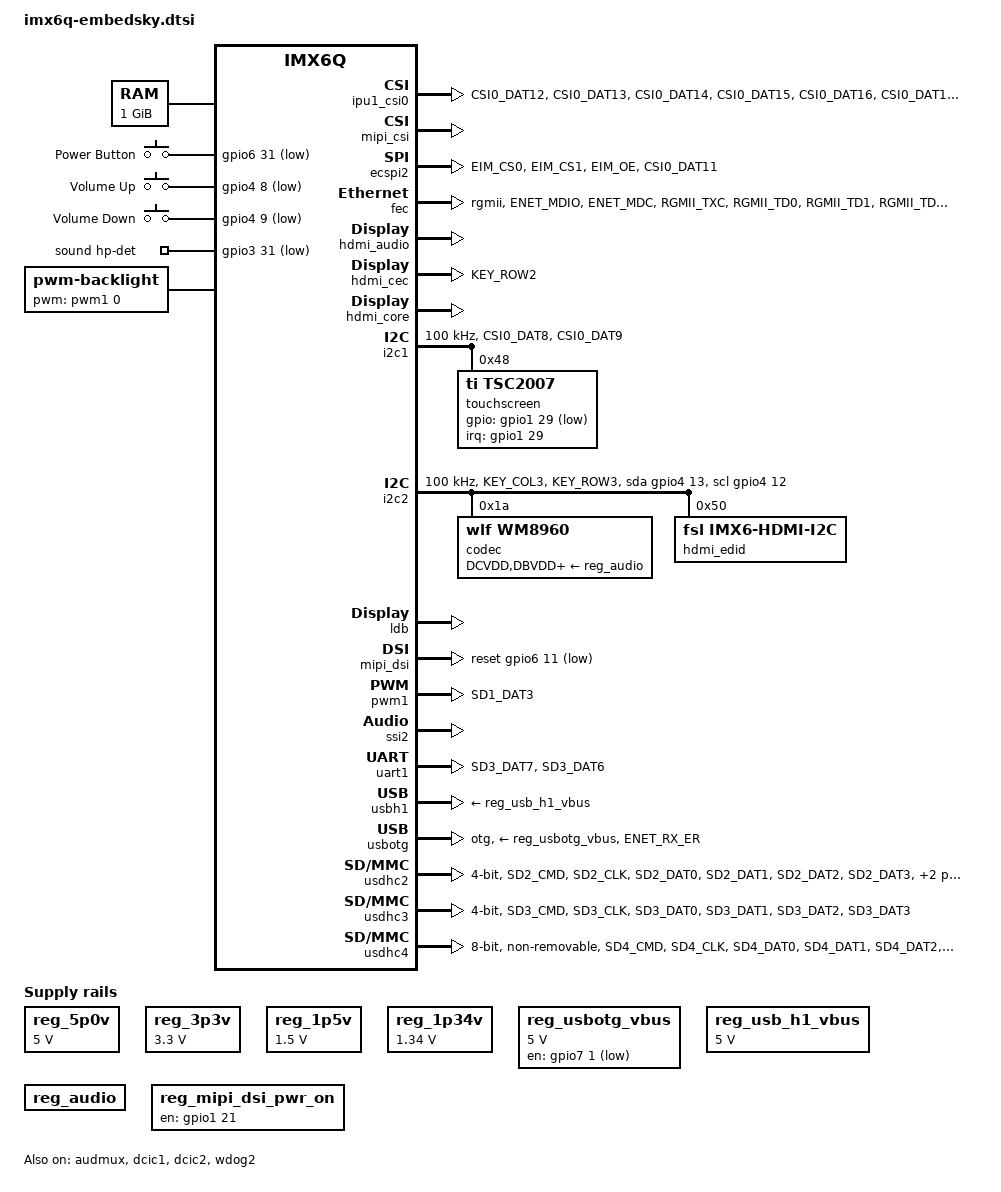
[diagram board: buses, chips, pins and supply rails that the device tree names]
/*
 * Copyright 2019 Ovidiu Mihalachi <ovidiu.mihalachi@gmail.com>
 *
 * The code contained herein is licensed under the GNU General Public
 * License. You may obtain a copy of the GNU General Public License
 * Version 2 or later at the following locations:
 *
 * http://www.opensource.org/licenses/gpl-license.html
 * http://www.gnu.org/copyleft/gpl.html
 */

#include <dt-bindings/clock/imx6qdl-clock.h>
#include <dt-bindings/gpio/gpio.h>
#include <dt-bindings/input/input.h>

/ {
	aliases {
		mxcfb0 = &mxcfb1;
		mxcfb1 = &mxcfb2;
		mxcfb2 = &mxcfb3;
		mxcfb3 = &mxcfb4;
	};

	chosen {
		stdout-path = &uart1;
	};

	memory: memory {
		reg = <0x10000000 0x40000000>;
	};

	regulators {
		compatible = "simple-bus";
		#address-cells = <1>;
		#size-cells = <0>;

		/* VDD_5V0 */
		reg_5p0v: regulator-5p0v {
			compatible = "regulator-fixed";
			regulator-name = "5p0v";
			regulator-min-microvolt = <5000000>;
			regulator-max-microvolt = <5000000>;
			regulator-always-on;
		};

		/* VDD_3V3 (5*(1+R1/R2) = 3.314) */
		reg_3p3v: regulator-3p3v {
			compatible = "regulator-fixed";
			regulator-name = "3p3v";
			regulator-min-microvolt = <3300000>;
			regulator-max-microvolt = <3300000>;
			regulator-always-on;
		};

		/* VDD_DDR (0.6*(1+R1/R2) = 1.50) */
		reg_1p5v: regulator-1p5v {
			compatible = "regulator-fixed";
			regulator-name = "1p5v";
			regulator-min-microvolt = <1500000>;
			regulator-max-microvolt = <1500000>;
			regulator-ramp-delay = <7000>;
			regulator-always-on;
		};

		/* VDD_1V34 (0.8*(1+R1/R2) = 1.34) */
		reg_1p34v: regulator-1p34v {
			compatible = "regulator-fixed";
			regulator-name = "1p34v";
			regulator-min-microvolt = <1340000>;
			regulator-max-microvolt = <1340000>;
			regulator-ramp-delay = <5000>;
			regulator-always-on;
		};

		reg_usbotg_vbus: regulator@1 {
			compatible = "regulator-fixed";
			reg = <1>;
			pinctrl-names = "default";
			pinctrl-0 = <&pinctrl_usbotg_vbus>;
			regulator-name = "usbotg_vbus";
			regulator-min-microvolt = <5000000>;
			regulator-max-microvolt = <5000000>;
			gpio = <&gpio7 1 GPIO_ACTIVE_HIGH>;
			enable-active-low;
		};

		reg_usb_h1_vbus: regulator@2 {
			compatible = "regulator-fixed";
			reg = <2>;
			regulator-name = "usb_h1_vbus";
			regulator-min-microvolt = <5000000>;
			regulator-max-microvolt = <5000000>;
			regulator-boot-on;
			regulator-always-on;
		};

		reg_audio: regulator@3 {
			compatible = "regulator-fixed";
			reg = <3>;
			regulator-name = "wm8960-supply";
			regulator-always-on;
			regulator-boot-on;
			enable-active-high;
		};

		reg_mipi_dsi_pwr_on: mipi_dsi_pwr_on {
			compatible = "regulator-fixed";
			reg = <4>;
			regulator-name = "mipi_dsi_pwr_on";
			gpio = <&gpio1 21 GPIO_ACTIVE_HIGH>;
			enable-active-high;
		};
	};

	gpio-keys {
		compatible = "gpio-keys";
		pinctrl-names = "default";
		pinctrl-0 = <&pinctrl_gpio_keys>;

		power {
			label = "Power Button";
			gpios = <&gpio6 31 GPIO_ACTIVE_LOW>;
			wakeup-source;
			linux,code = <KEY_POWER>;
		};

		volume-up {
			label = "Volume Up";
			gpios = <&gpio4 8 GPIO_ACTIVE_LOW>;
			wakeup-source;
			linux,code = <KEY_VOLUMEUP>;
		};

		volume-down {
			label = "Volume Down";
			gpios = <&gpio4 9 GPIO_ACTIVE_LOW>;
			wakeup-source;
			linux,code = <KEY_VOLUMEDOWN>;
		};
	};

	sound {
		compatible = "fsl,imx-audio-wm8960";
		model = "wm8960-audio";
		cpu-dai = <&ssi2>;
		audio-codec = <&codec>;
		asrc-controller = <&asrc>;
		gpr = <&gpr 4 0x100000 0x100000>;
		codec-master;
		hp-det-gpios = <&gpio3 31 1>;
		mux-int-port = <2>;
		mux-ext-port = <3>;
		audio-routing =
			"Headphone Jack", "HPOUTL",
			"Headphone Jack", "HPOUTR",
			"Ext Spk", "SPKOUTL",
			"Ext Spk", "SPKOUTR",
			"AMIC", "MICBIAS",
			"IN3R", "AMIC",
			"DMIC", "MICBIAS",
			"DMICDAT", "DMIC",
			"CPU-Playback", "ASRC-Playback",
			"Playback", "CPU-Playback",
			"ASRC-Capture", "CPU-Capture",
			"CPU-Capture", "Capture";
	};

	sound-hdmi {
		compatible = "fsl,imx6q-audio-hdmi",
			     "fsl,imx-audio-hdmi";
		model = "imx-audio-hdmi";
		hdmi-controller = <&hdmi_audio>;
	};

	mxcfb1: fb@0 {
		compatible = "fsl,mxc_sdc_fb";
		disp_dev = "ldb";
		interface_pix_fmt = "RGB666";
		default_bpp = <16>;
		int_clk = <0>;
		late_init = <0>;
		status = "disabled";
	};

	mxcfb2: fb@1 {
		compatible = "fsl,mxc_sdc_fb";
		disp_dev = "hdmi";
		interface_pix_fmt = "RGB24";
		mode_str ="1920x1080M@60";
		default_bpp = <24>;
		int_clk = <0>;
		late_init = <0>;
		status = "disabled";
	};

	mxcfb3: fb@2 {
		compatible = "fsl,mxc_sdc_fb";
		disp_dev = "lcd";
		interface_pix_fmt = "RGB565";
		mode_str ="CLAA-WVGA";
		default_bpp = <16>;
		int_clk = <0>;
		late_init = <0>;
		status = "disabled";
	};

	mxcfb4: fb@3 {
		compatible = "fsl,mxc_sdc_fb";
		disp_dev = "ldb";
		interface_pix_fmt = "RGB666";
		default_bpp = <16>;
		int_clk = <0>;
		late_init = <0>;
		status = "disabled";
	};

	lcd@0 {
		compatible = "fsl,lcd";
		ipu_id = <0>;
		disp_id = <0>;
		default_ifmt = "RGB565";
		pinctrl-names = "default";
		pinctrl-0 = <&pinctrl_ipu1>;
		status = "okay";
	};

	backlight {
		compatible = "pwm-backlight";
		pwms = <&pwm1 0 5000000>;
		brightness-levels = <0 4 8 16 32 64 128 255>;
		default-brightness-level = <7>;
		status = "okay";
	};

	v4l2_cap_0 {
		compatible = "fsl,imx6q-v4l2-capture";
		ipu_id = <0>;
		csi_id = <0>;
		mclk_source = <0>;
		status = "okay";
	};

	v4l2_cap_1 {
		compatible = "fsl,imx6q-v4l2-capture";
		ipu_id = <0>;
		csi_id = <1>;
		mclk_source = <0>;
		status = "okay";
	};

	v4l2_out {
		compatible = "fsl,mxc_v4l2_output";
		status = "okay";
	};
};

&ipu1_csi0_from_ipu1_csi0_mux {
	bus-width = <8>;
	data-shift = <12>; /* Lines 19:12 used */
	hsync-active = <1>;
	vsync-active = <1>;
};

&ipu1_csi0 {
	pinctrl-names = "default";
	pinctrl-0 = <&pinctrl_ipu1_csi0>;
};

&mipi_csi {
	status = "okay";
};

&audmux {
	pinctrl-names = "default";
	pinctrl-0 = <&pinctrl_audmux>;
	status = "okay";
};

&clks {
	assigned-clocks = <&clks IMX6QDL_CLK_LDB_DI0_SEL>,
			  <&clks IMX6QDL_CLK_LDB_DI1_SEL>;
	assigned-clock-parents = <&clks IMX6QDL_CLK_PLL2_PFD0_352M>,
				 <&clks IMX6QDL_CLK_PLL2_PFD0_352M>;
};

&ecspi2 {
	cs-gpios = <&gpio5 29 0>;
	pinctrl-names = "default";
	pinctrl-0 = <&pinctrl_ecspi2>;
	status = "okay";
};

&fec {
	pinctrl-names = "default";
	pinctrl-0 = <&pinctrl_enet &pinctrl_enet_irq>;
	phy-mode = "rgmii";
	phy-reset-gpios = <&gpio1 25 GPIO_ACTIVE_LOW>;
	fsl,magic-packet;
	status = "okay";
};

&gpc {
	fsl,ldo-bypass = <1>;
};

&dcic1 {
	dcic_id = <0>;
	dcic_mux = "dcic-hdmi";
	status = "okay";
};

&dcic2 {
	dcic_id = <1>;
	dcic_mux = "dcic-lvds1";
	status = "okay";
};

&hdmi_audio {
	status = "okay";
};

&hdmi_cec {
	pinctrl-names = "default";
	pinctrl-0 = <&pinctrl_hdmi_cec>;
	status = "okay";
};

&hdmi_core {
	ipu_id = <0>;
	disp_id = <0>;
	status = "okay";
};

&i2c1 {
	clock-frequency = <100000>;
	pinctrl-names = "default";
	pinctrl-0 = <&pinctrl_i2c1>;
	status = "okay";

	touchscreen: tsc2007@48 {
		compatible = "ti,tsc2007";
		reg = <0x48>;
		pinctrl-names = "default";
		pinctrl-0 = <&pinctrl_tsc2007>;
		interrupt-parent = <&gpio1>;
		interrupts = <29 0>;
		gpios = <&gpio1 29 GPIO_ACTIVE_LOW>;
		ti,x-plate-ohms = <660>;
		wakeup-source;
	};
};

&i2c2 {
	clock-frequency = <100000>;
	pinctrl-names = "default", "gpio";
	pinctrl-0 = <&pinctrl_i2c2>;
	pinctrl-1 = <&pinctrl_i2c2_gpio>;
	scl-gpios = <&gpio4 12 GPIO_ACTIVE_HIGH>;
	sda-gpios = <&gpio4 13 GPIO_ACTIVE_HIGH>;
	status = "okay";

        codec: wm8960@1a {
                compatible = "wlf,wm8960";
                reg = <0x1a>;
                #sound-dai-cells = <0>;
		DCVDD-supply = <&reg_audio>;
		DBVDD-supply = <&reg_audio>;
		AVDD-supply = <&reg_audio>;
		SPKVDD1-supply = <&reg_audio>;
		SPKVDD2-supply = <&reg_audio>;
                clocks = <&clks IMX6QDL_CLK_CKO>;
                clock-names = "mclk";
                wlf,shared-lrclk;
        };

	hdmi_edid: edid@50 {
		compatible = "fsl,imx6-hdmi-i2c";
		reg = <0x50>;
	};
};

&iomuxc {
	pinctrl-names = "default";
	pinctrl-0 = <&pinctrl_hog>;

	imx6q-embedsky {
		pinctrl_hog: hoggrp {
			fsl,pins = <
				MX6QDL_PAD_GPIO_4__GPIO1_IO04	0x80000000 /* SD2_CD */
				MX6QDL_PAD_GPIO_2__GPIO1_IO02	0x80000000 /* SD2_WP */
				MX6QDL_PAD_EIM_BCLK__GPIO6_IO31	0x80000000
				MX6QDL_PAD_GPIO_9__GPIO1_IO09	0x80000000
				MX6QDL_PAD_ENET_CRS_DV__GPIO1_IO25 0x80000000
				MX6QDL_PAD_EIM_D31__GPIO3_IO31	0x80000000  /* HP_DETECT */
			>;
		};

		pinctrl_audmux: audmuxgrp {
			fsl,pins = <
				MX6QDL_PAD_CSI0_DAT7__AUD3_RXD		0x130b0
				MX6QDL_PAD_CSI0_DAT4__AUD3_TXC		0x130b0
				MX6QDL_PAD_CSI0_DAT5__AUD3_TXD		0x130b0
				MX6QDL_PAD_CSI0_DAT6__AUD3_TXFS		0x130b0
				MX6QDL_PAD_GPIO_0__CCM_CLKO1            0x130b0 /* AUD4_MCK */
			>;
		};

		pinctrl_ecspi2: escpi2grp {
			fsl,pins = <
				MX6QDL_PAD_EIM_CS0__ECSPI2_SCLK		0x100b1
				MX6QDL_PAD_EIM_CS1__ECSPI2_MOSI		0x100b1
				MX6QDL_PAD_EIM_OE__ECSPI2_MISO		0x100b1
				MX6QDL_PAD_CSI0_DAT11__GPIO5_IO29	0x1b0b0 /* CS */
			>;
		};

		pinctrl_enet: enetgrp {
			fsl,pins = <
				MX6QDL_PAD_ENET_MDIO__ENET_MDIO		0x1b0b0
				MX6QDL_PAD_ENET_MDC__ENET_MDC		0x1b0b0
				MX6QDL_PAD_RGMII_TXC__RGMII_TXC		0x1b030
				MX6QDL_PAD_RGMII_TD0__RGMII_TD0		0x1b030
				MX6QDL_PAD_RGMII_TD1__RGMII_TD1		0x1b030
				MX6QDL_PAD_RGMII_TD2__RGMII_TD2		0x1b030
				MX6QDL_PAD_RGMII_TD3__RGMII_TD3		0x1b030
				MX6QDL_PAD_RGMII_TX_CTL__RGMII_TX_CTL	0x1b030
				MX6QDL_PAD_ENET_REF_CLK__ENET_TX_CLK	0x1b0b0
				MX6QDL_PAD_RGMII_RXC__RGMII_RXC		0x1b030
				MX6QDL_PAD_RGMII_RD0__RGMII_RD0		0x1b030
				MX6QDL_PAD_RGMII_RD1__RGMII_RD1		0x1b030
				MX6QDL_PAD_RGMII_RD2__RGMII_RD2		0x1b030
				MX6QDL_PAD_RGMII_RD3__RGMII_RD3		0x1b030
				MX6QDL_PAD_RGMII_RX_CTL__RGMII_RX_CTL	0x1b030
				MX6QDL_PAD_GPIO_16__ENET_REF_CLK	0x4001b0a8
			>;
		};

		pinctrl_enet_irq: enetirqgrp {
			fsl,pins = <
				MX6QDL_PAD_GPIO_6__ENET_IRQ		0x000b1
			>;
		};

		pinctrl_gpio_keys: gpio_keysgrp {
			fsl,pins = <
				MX6QDL_PAD_KEY_COL1__GPIO4_IO08		0x1b0b0 /* KEY_VOL_UP */
				MX6QDL_PAD_KEY_ROW1__GPIO4_IO09		0x1b0b0 /* KEY_VOL_DN */
			>;
		};

		pinctrl_hdmi_cec: hdmicecgrp {
			fsl,pins = <
				MX6QDL_PAD_KEY_ROW2__HDMI_TX_CEC_LINE	0x108b0
			>;
		};

		pinctrl_hdmi_hdcp: hdmihdcpgrp {
			fsl,pins = <
				MX6QDL_PAD_KEY_COL3__HDMI_TX_DDC_SCL	0x4001b8b1
				MX6QDL_PAD_KEY_ROW3__HDMI_TX_DDC_SDA	0x4001b8b1
			>;
		};

		pinctrl_i2c1: i2c1grp {
			fsl,pins = <
				MX6QDL_PAD_CSI0_DAT8__I2C1_SDA		0x4001b8b1
				MX6QDL_PAD_CSI0_DAT9__I2C1_SCL		0x4001b8b1
			>;
		};

		pinctrl_i2c2: i2c2grp {
			fsl,pins = <
				MX6QDL_PAD_KEY_COL3__I2C2_SCL		0x4001b8b1
				MX6QDL_PAD_KEY_ROW3__I2C2_SDA		0x4001b8b1
			>;
		};

		pinctrl_i2c2_gpio: i2c2_gpio_grp {
			fsl,pins = <
				MX6QDL_PAD_KEY_COL3__GPIO4_IO12		0x1b0b0
				MX6QDL_PAD_KEY_ROW3__GPIO4_IO13		0x1b0b0
			>;
		};

		pinctrl_ipu1: ipu1grp {
			fsl,pins = <
				MX6QDL_PAD_DI0_DISP_CLK__IPU1_DI0_DISP_CLK 0x10
				MX6QDL_PAD_DI0_PIN15__IPU1_DI0_PIN15       0x10
				MX6QDL_PAD_DI0_PIN2__IPU1_DI0_PIN02        0x10
				MX6QDL_PAD_DI0_PIN3__IPU1_DI0_PIN03        0x10
				MX6QDL_PAD_DI0_PIN4__IPU1_DI0_PIN04        0x80000000
				MX6QDL_PAD_DISP0_DAT0__IPU1_DISP0_DATA00   0x10
				MX6QDL_PAD_DISP0_DAT1__IPU1_DISP0_DATA01   0x10
				MX6QDL_PAD_DISP0_DAT2__IPU1_DISP0_DATA02   0x10
				MX6QDL_PAD_DISP0_DAT3__IPU1_DISP0_DATA03   0x10
				MX6QDL_PAD_DISP0_DAT4__IPU1_DISP0_DATA04   0x10
				MX6QDL_PAD_DISP0_DAT5__IPU1_DISP0_DATA05   0x10
				MX6QDL_PAD_DISP0_DAT6__IPU1_DISP0_DATA06   0x10
				MX6QDL_PAD_DISP0_DAT7__IPU1_DISP0_DATA07   0x10
				MX6QDL_PAD_DISP0_DAT8__IPU1_DISP0_DATA08   0x10
				MX6QDL_PAD_DISP0_DAT9__IPU1_DISP0_DATA09   0x10
				MX6QDL_PAD_DISP0_DAT10__IPU1_DISP0_DATA10  0x10
				MX6QDL_PAD_DISP0_DAT11__IPU1_DISP0_DATA11  0x10
				MX6QDL_PAD_DISP0_DAT12__IPU1_DISP0_DATA12  0x10
				MX6QDL_PAD_DISP0_DAT13__IPU1_DISP0_DATA13  0x10
				MX6QDL_PAD_DISP0_DAT14__IPU1_DISP0_DATA14  0x10
				MX6QDL_PAD_DISP0_DAT15__IPU1_DISP0_DATA15  0x10
				MX6QDL_PAD_DISP0_DAT16__IPU1_DISP0_DATA16  0x10
				MX6QDL_PAD_DISP0_DAT17__IPU1_DISP0_DATA17  0x10
				MX6QDL_PAD_DISP0_DAT18__IPU1_DISP0_DATA18  0x10
				MX6QDL_PAD_DISP0_DAT19__IPU1_DISP0_DATA19  0x10
				MX6QDL_PAD_DISP0_DAT20__IPU1_DISP0_DATA20  0x10
				MX6QDL_PAD_DISP0_DAT21__IPU1_DISP0_DATA21  0x10
				MX6QDL_PAD_DISP0_DAT22__IPU1_DISP0_DATA22  0x10
				MX6QDL_PAD_DISP0_DAT23__IPU1_DISP0_DATA23  0x10
			>;
		};

		pinctrl_ipu1_2: ipu1grp-2 { /* parallel camera */
			fsl,pins = <
				MX6QDL_PAD_CSI0_DAT12__IPU1_CSI0_DATA12    0x80000000
				MX6QDL_PAD_CSI0_DAT13__IPU1_CSI0_DATA13    0x80000000
				MX6QDL_PAD_CSI0_DAT14__IPU1_CSI0_DATA14    0x80000000
				MX6QDL_PAD_CSI0_DAT15__IPU1_CSI0_DATA15    0x80000000
				MX6QDL_PAD_CSI0_DAT16__IPU1_CSI0_DATA16    0x80000000
				MX6QDL_PAD_CSI0_DAT17__IPU1_CSI0_DATA17    0x80000000
				MX6QDL_PAD_CSI0_DAT18__IPU1_CSI0_DATA18    0x80000000
				MX6QDL_PAD_CSI0_DAT19__IPU1_CSI0_DATA19    0x80000000
				MX6QDL_PAD_CSI0_DATA_EN__IPU1_CSI0_DATA_EN 0x80000000
				MX6QDL_PAD_CSI0_PIXCLK__IPU1_CSI0_PIXCLK   0x80000000
				MX6QDL_PAD_CSI0_MCLK__IPU1_CSI0_HSYNC      0x80000000
				MX6QDL_PAD_CSI0_VSYNC__IPU1_CSI0_VSYNC     0x80000000
				MX6QDL_PAD_GPIO_17__GPIO7_IO12		   0x80000000 /* CAMA_RST */
				MX6QDL_PAD_GPIO_18__GPIO7_IO13		   0x80000000 /* CAMA_PWDN */
			>;
		};

		pinctrl_ipu1_csi0: ipu1csi0grp {
			fsl,pins = <
				MX6QDL_PAD_CSI0_DAT12__IPU1_CSI0_DATA12    0x1b0b0
				MX6QDL_PAD_CSI0_DAT13__IPU1_CSI0_DATA13    0x1b0b0
				MX6QDL_PAD_CSI0_DAT14__IPU1_CSI0_DATA14    0x1b0b0
				MX6QDL_PAD_CSI0_DAT15__IPU1_CSI0_DATA15    0x1b0b0
				MX6QDL_PAD_CSI0_DAT16__IPU1_CSI0_DATA16    0x1b0b0
				MX6QDL_PAD_CSI0_DAT17__IPU1_CSI0_DATA17    0x1b0b0
				MX6QDL_PAD_CSI0_DAT18__IPU1_CSI0_DATA18    0x1b0b0
				MX6QDL_PAD_CSI0_DAT19__IPU1_CSI0_DATA19    0x1b0b0
				MX6QDL_PAD_CSI0_PIXCLK__IPU1_CSI0_PIXCLK   0x1b0b0
				MX6QDL_PAD_CSI0_MCLK__IPU1_CSI0_HSYNC      0x1b0b0
				MX6QDL_PAD_CSI0_VSYNC__IPU1_CSI0_VSYNC     0x1b0b0
			>;
		};

		pinctrl_tsc2007: tsc2007grp {
			fsl,pins = <
				MX6QDL_PAD_ENET_TXD1__GPIO1_IO29	0x1b0b0 /* Interrupt */
			>;
		};

		pinctrl_pwm1: pwm1grp {
			fsl,pins = <
				MX6QDL_PAD_SD1_DAT3__PWM1_OUT		0x1b0b1
			>;
		};

		pinctrl_flexcan1: flexcan1grp {
			fsl,pins = <
				MX6QDL_PAD_GPIO_7__FLEXCAN1_TX		0x1b0b0
				MX6QDL_PAD_GPIO_8__FLEXCAN1_RX		0x1b0b0
			>;
		};

		pinctrl_flexcan2: flexcan2grp {
			fsl,pins = <
				MX6QDL_PAD_KEY_COL4__FLEXCAN2_TX	0x1b0b0
				MX6QDL_PAD_KEY_ROW4__FLEXCAN2_RX	0x1b0b0
			>;
		};

		pinctrl_uart1: uart1grp {
			fsl,pins = <
				MX6QDL_PAD_SD3_DAT7__UART1_TX_DATA	0x1b0b1
				MX6QDL_PAD_SD3_DAT6__UART1_RX_DATA	0x1b0b1
			>;
		};

		pinctrl_uart2: uart2grp {
			fsl,pins = <
				MX6QDL_PAD_EIM_D26__UART2_TX_DATA       0x1b0b1
				MX6QDL_PAD_EIM_D27__UART2_RX_DATA       0x1b0b1
				MX6QDL_PAD_EIM_D28__UART2_CTS_B		0x1b0b1
				MX6QDL_PAD_EIM_D29__UART2_RTS_B		0x1b0b1
			>;
		};

		pinctrl_uart3: uart3grp {
			fsl,pins = <
				MX6QDL_PAD_EIM_D24__UART3_TX_DATA       0x1b0b1
				MX6QDL_PAD_EIM_D25__UART3_RX_DATA       0x1b0b1
			>;
		};

		pinctrl_uart4: uart4grp {
			fsl,pins = <
				MX6QDL_PAD_KEY_COL0__UART4_TX_DATA      0x1b0b1
				MX6QDL_PAD_KEY_ROW0__UART4_RX_DATA      0x1b0b1
			>;
		};

		pinctrl_usbotg: usbotggrp {
			fsl,pins = <
				MX6QDL_PAD_ENET_RX_ER__USB_OTG_ID	0x17059
			>;
		};

		pinctrl_usbotg_vbus: usbotg_vbusgrp {
			fsl,pins = <
				MX6QDL_PAD_SD3_DAT4__GPIO7_IO01		0x17059 /* OTG_PWR_EN */
			>;
		};

		pinctrl_usdhc2: usdhc2grp {
			fsl,pins = <
				MX6QDL_PAD_SD2_CMD__SD2_CMD		0x17059
				MX6QDL_PAD_SD2_CLK__SD2_CLK		0x10059
				MX6QDL_PAD_SD2_DAT0__SD2_DATA0		0x17059
				MX6QDL_PAD_SD2_DAT1__SD2_DATA1		0x17059
				MX6QDL_PAD_SD2_DAT2__SD2_DATA2		0x17059
				MX6QDL_PAD_SD2_DAT3__SD2_DATA3		0x17059
			>;
		};

		pinctrl_usdhc3: usdhc3grp {
			fsl,pins = <
				MX6QDL_PAD_SD3_CMD__SD3_CMD		0x17059
				MX6QDL_PAD_SD3_CLK__SD3_CLK		0x10059
				MX6QDL_PAD_SD3_DAT0__SD3_DATA0		0x17059
				MX6QDL_PAD_SD3_DAT1__SD3_DATA1		0x17059
				MX6QDL_PAD_SD3_DAT2__SD3_DATA2		0x17059
				MX6QDL_PAD_SD3_DAT3__SD3_DATA3		0x17059
			>;
		};

		pinctrl_usdhc4: usdhc4grp {
			fsl,pins = <
				MX6QDL_PAD_SD4_CMD__SD4_CMD		0x17059
				MX6QDL_PAD_SD4_CLK__SD4_CLK		0x10059
				MX6QDL_PAD_SD4_DAT0__SD4_DATA0		0x17059
				MX6QDL_PAD_SD4_DAT1__SD4_DATA1		0x17059
				MX6QDL_PAD_SD4_DAT2__SD4_DATA2		0x17059
				MX6QDL_PAD_SD4_DAT3__SD4_DATA3		0x17059
				MX6QDL_PAD_SD4_DAT4__SD4_DATA4		0x17059
				MX6QDL_PAD_SD4_DAT5__SD4_DATA5		0x17059
				MX6QDL_PAD_SD4_DAT6__SD4_DATA6		0x17059
				MX6QDL_PAD_SD4_DAT7__SD4_DATA7		0x17059
			>;
		};

		pinctrl_wdog: wdoggrp {
			fsl,pins = <
				MX6QDL_PAD_GPIO_1__WDOG2_B		0x80000000
			>;
		};
	};
};

&ldb {
	status = "okay";

	lvds-channel@0 {
		fsl,data-mapping = "spwg";
		fsl,data-width = <18>;
		status = "okay";

		display-timings {
			native-mode = <&timing0>;
			timing0: hsd100pxn1 {
				clock-frequency = <65000000>;
				hactive = <1024>;
				vactive = <768>;
				hback-porch = <220>;
				hfront-porch = <40>;
				vback-porch = <21>;
				vfront-porch = <7>;
				hsync-len = <60>;
				vsync-len = <10>;
			};
		};
	};

	lvds-channel@1 {
		fsl,data-mapping = "spwg";
		fsl,data-width = <18>;
		primary;
		status = "okay";

		display-timings {
			native-mode = <&timing1>;
			timing1: hsd100pxn1 {
				clock-frequency = <65000000>;
				hactive = <1024>;
				vactive = <768>;
				hback-porch = <220>;
				hfront-porch = <40>;
				vback-porch = <21>;
				vfront-porch = <7>;
				hsync-len = <60>;
				vsync-len = <10>;
			};
		};
	};
};

&mipi_csi {
	status = "okay";
	ipu_id = <0>;
	csi_id = <1>;
	v_channel = <0>;
	lanes = <2>;
};

&mipi_dsi {
	dev_id = <0>;
	disp_id = <1>;
	lcd_panel = "TRULY-WVGA";
	disp-power-on-supply = <&reg_mipi_dsi_pwr_on>;
	reset-gpios = <&gpio6 11 GPIO_ACTIVE_LOW>;
	reset-delay-us = <50>;
	status = "okay";
};

&pwm1 {
	pinctrl-names = "default";
	pinctrl-0 = <&pinctrl_pwm1>;
	status = "okay";
};

&reg_vdd1p1 {
	vin-supply = <&reg_1p34v>;
};

&reg_vdd2p5 {
	vin-supply = <&reg_3p3v>;
};

/*
&reg_vdd3p0 {
	vin-supply = <&reg_3p3v>;
};
*/

&reg_arm {
       vin-supply = <&reg_1p34v>;
};

&reg_pu {
       vin-supply = <&reg_1p34v>;
};

&reg_soc {
       vin-supply = <&reg_1p34v>;
};

&ssi2 {
	assigned-clocks = <&clks IMX6QDL_CLK_PLL4>,
			  <&clks IMX6QDL_PLL4_BYPASS>,
			  <&clks IMX6QDL_CLK_SSI2_SEL>;
	assigned-clock-parents = <&clks IMX6QDL_CLK_OSC>,
				 <&clks IMX6QDL_CLK_PLL4>,
				 <&clks IMX6QDL_CLK_PLL4_AUDIO_DIV>;
	assigned-clock-rates = <737280000>, <0>, <0>;
	status = "okay";
};

&uart1 {
	pinctrl-names = "default";
	pinctrl-0 = <&pinctrl_uart1>;
	status = "okay";
};

&usbh1 {
	vbus-supply = <&reg_usb_h1_vbus>;
	status = "okay";
};

&usbotg {
	vbus-supply = <&reg_usbotg_vbus>;
	pinctrl-names = "default";
	pinctrl-0 = <&pinctrl_usbotg>;
	disable-over-current;
	srp-disable;
	hnp-disable;
	adp-disable;
	dr_mode = "otg";
	status = "okay";
};

&usbphy1 {
	fsl,tx-d-cal = <106>;
};

&usbphy2 {
	fsl,tx-d-cal = <106>;
};

&usdhc2 {
	pinctrl-names = "default";
	pinctrl-0 = <&pinctrl_usdhc2>;
	bus-width = <4>;
	cd-gpios = <&gpio1 4 GPIO_ACTIVE_LOW>;
	wp-gpios = <&gpio1 2 GPIO_ACTIVE_LOW>;
	no-1-8-v;
	keep-power-in-suspend;
	enable-sdio-wakeup;
	status = "okay";
};

&usdhc3 {
	pinctrl-names = "default";
	pinctrl-0 = <&pinctrl_usdhc3>;
	bus-width = <4>;
	no-1-8-v;
	keep-power-in-suspend;
	enable-sdio-wakeup;
	status = "okay";
};

&usdhc4 {
	pinctrl-names = "default";
	pinctrl-0 = <&pinctrl_usdhc4>;
	bus-width = <8>;
	non-removable;
	no-1-8-v;
	keep-power-in-suspend;
	status = "okay";
};

&wdog1 {
	status = "disabled";
};

&wdog2 {
	pinctrl-names = "default";
	pinctrl-0 = <&pinctrl_wdog>;
	fsl,ext-reset-output;
	status = "okay";
};
